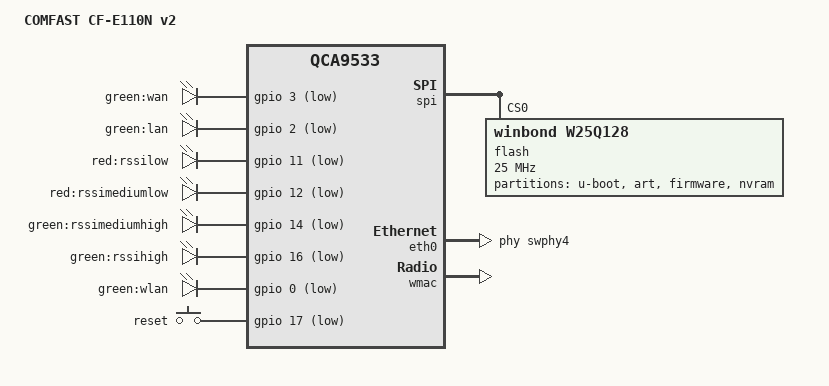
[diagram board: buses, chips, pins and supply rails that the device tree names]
// SPDX-License-Identifier: GPL-2.0-or-later OR MIT

#include "qca953x.dtsi"

#include <dt-bindings/gpio/gpio.h>
#include <dt-bindings/input/input.h>

/ {
	compatible = "comfast,cf-e110n-v2", "qca,qca9533";
	model = "COMFAST CF-E110N v2";

	aliases {
		serial0 = &uart;
		led-boot = &led_rssihigh;
		led-failsafe = &led_rssihigh;
		led-upgrade = &led_rssihigh;
	};

	leds {
		compatible = "gpio-leds";

		pinctrl-names = "default";
		pinctrl-0 = <&jtag_disable_pins &led_rssilow_pin &led_rssimediumhigh_pin &led_rssihigh_pin>;

		wan {
			label = "green:wan";
			gpios = <&gpio 3 GPIO_ACTIVE_LOW>;
		};

		lan {
			label = "green:lan";
			gpios = <&gpio 2 GPIO_ACTIVE_LOW>;
		};

		rssilow {
			label = "red:rssilow";
			gpios = <&gpio 11 GPIO_ACTIVE_LOW>;
		};

		rssimediumlow {
			label = "red:rssimediumlow";
			gpios = <&gpio 12 GPIO_ACTIVE_LOW>;
		};

		rssimediumhigh {
			label = "green:rssimediumhigh";
			gpios = <&gpio 14 GPIO_ACTIVE_LOW>;
		};

		led_rssihigh: rssihigh {
			label = "green:rssihigh";
			gpios = <&gpio 16 GPIO_ACTIVE_LOW>;
		};
	};

	ath9k-leds {
		compatible = "gpio-leds";

		wlan {
			label = "green:wlan";
			gpios = <&gpio 0 GPIO_ACTIVE_LOW>;
			linux,default-trigger = "phy0tpt";
		};
	};

	keys {
		compatible = "gpio-keys";

		reset {
			label = "reset";
			linux,code = <KEY_RESTART>;
			gpios = <&gpio 17 GPIO_ACTIVE_LOW>;
			debounce-interval = <60>;
		};
	};
};

&pinmux {
	led_rssilow_pin: pinmux_rssilow_pin {
		pinctrl-single,bits = <0x8 0x0 0xff000000>;
	};

	led_rssimediumhigh_pin: pinmux_rssimediumhigh_pin {
		pinctrl-single,bits = <0xc 0x0 0x00ff0000>;
	};

	led_rssihigh_pin: pinmux_rssihigh_pin {
		pinctrl-single,bits = <0x10 0x0 0x000000ff>;
	};
};

&spi {
	status = "okay";

	flash@0 {
		compatible = "winbond,w25q128", "jedec,spi-nor";
		reg = <0>;
		spi-max-frequency = <25000000>;

		partitions {
			compatible = "fixed-partitions";
			#address-cells = <1>;
			#size-cells = <1>;

			partition@0 {
				label = "u-boot";
				reg = <0x000000 0x010000>;
				read-only;
			};

			art: partition@10000 {
				label = "art";
				reg = <0x010000 0x010000>;
				read-only;
			};

			partition@20000 {
				compatible = "denx,uimage";
				label = "firmware";
				reg = <0x020000 0xfd0000>;
			};

			partition@ff0000 {
				label = "nvram";
				reg = <0xff0000 0x010000>;
				read-only;
			};
		};
	};
};

&eth0 {
	status = "okay";

	phy-handle = <&swphy4>;

	nvmem-cells = <&macaddr_art_0>;
	nvmem-cell-names = "mac-address";
};

&eth1 {
	nvmem-cells = <&macaddr_art_1002>;
	nvmem-cell-names = "mac-address";

	gmac-config {
		device = <&gmac>;
	};
};

&wmac {
	status = "okay";

	mtd-cal-data = <&art 0x1000>;
	nvmem-cells = <&macaddr_art_6>;
	nvmem-cell-names = "mac-address";
};

&art {
	compatible = "nvmem-cells";
	#address-cells = <1>;
	#size-cells = <1>;

	macaddr_art_0: macaddr@0 {
		reg = <0x0 0x6>;
	};

	macaddr_art_6: macaddr@6 {
		reg = <0x6 0x6>;
	};

	macaddr_art_1002: macaddr@1002 {
		reg = <0x1002 0x6>;
	};
};
